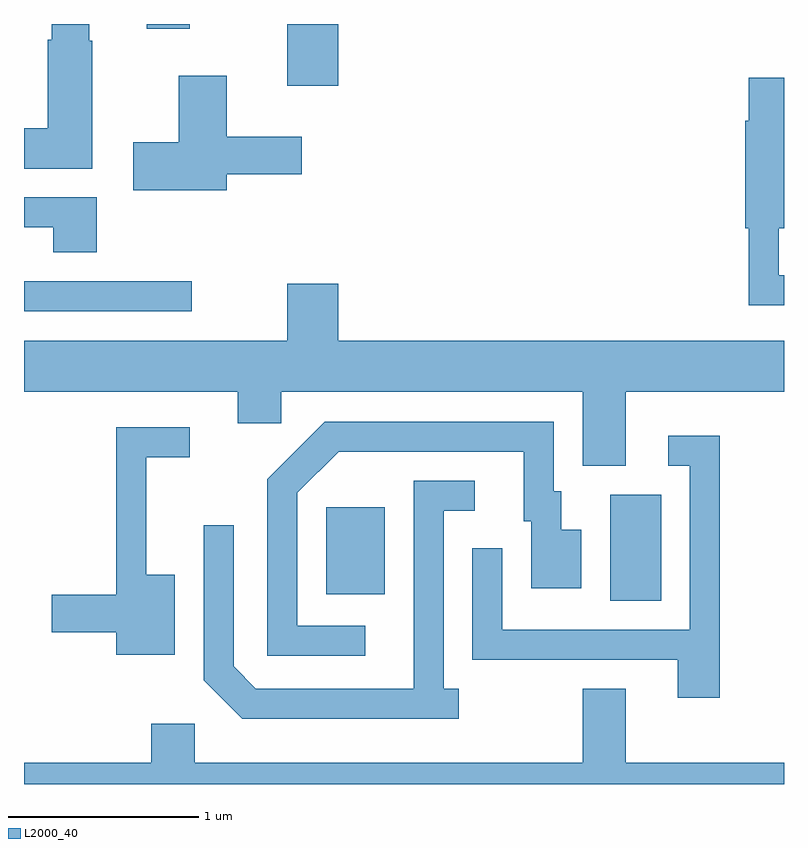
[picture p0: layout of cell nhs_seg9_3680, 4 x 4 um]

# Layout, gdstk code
import gdstk
lib = gdstk.Library(unit=1e-6, precision=1e-09)
def R(c, l, rs):  # rectangles x0, y0, x1, y1
    for r in rs: c.add(gdstk.rectangle(r[:2], r[2:], *l))
def P(c, l, *ps):  # polygons
    for p in ps: c.add(gdstk.Polygon(p, *l))
L2000_40 = (2000, 40)

nhs_seg9_3680 = lib.new_cell('nhs_seg9_3680')
R(nhs_seg9_3680, L2000_40, [(296.696,1977.396,296.964,1977.954), (295.201,1977.431,295.509,1977.889), (293.611,1978.921,294.493,1979.079), (294.996,1980.106,295.264,1980.432), (294.256,1980.406,294.484,1980.432)])
P(nhs_seg9_3680, L2000_40, [(293.969,1980.345),(293.954,1980.345),(293.954,1980.432),(293.756,1980.432),(293.756,1980.349),(293.736,1980.349),(293.736,1979.884),(293.611,1979.884),(293.611,1979.671),(293.969,1979.671)],
  [(294.679,1979.641),(295.074,1979.641),(295.074,1979.839),(294.679,1979.839),(294.679,1980.159),(294.426,1980.159),(294.426,1979.809),(294.186,1979.809),(294.186,1979.556),(294.679,1979.556)],
  [(297.611,1979.109),(297.584,1979.109),(297.584,1979.356),(297.611,1979.356),(297.611,1980.149),(297.426,1980.149),(297.426,1979.924),(297.406,1979.924),(297.406,1979.356),(297.426,1979.356),(297.426,1978.951),(297.611,1978.951)],
  [(293.994,1979.519),(293.611,1979.519),(293.611,1979.361),(293.766,1979.361),(293.766,1979.231),(293.994,1979.231)],
  [(296.779,1978.496),(297.611,1978.496),(297.611,1978.764),(295.264,1978.764),(295.264,1979.064),(294.996,1979.064),(294.996,1978.764),(293.611,1978.764),(293.611,1978.496),(294.736,1978.496),(294.736,1978.331),(294.964,1978.331),(294.964,1978.496),(296.551,1978.496),(296.551,1978.106),(296.779,1978.106)],
  [(295.408,1977.264),(295.049,1977.264),(295.049,1977.964),(295.267,1978.181),(296.241,1978.181),(296.241,1977.816),(296.281,1977.816),(296.281,1977.461),(296.544,1977.461),(296.544,1977.769),(296.439,1977.769),(296.439,1977.974),(296.399,1977.974),(296.399,1978.339),(295.194,1978.339),(294.891,1978.037),(294.891,1977.106),(295.408,1977.106)],
  [(294.404,1977.534),(294.254,1977.534),(294.254,1978.151),(294.483,1978.151),(294.483,1978.309),(294.096,1978.309),(294.096,1977.429),(293.756,1977.429),(293.756,1977.231),(294.096,1977.231),(294.096,1977.111),(294.404,1977.111)],
  [(297.274,1978.264),(297.003,1978.264),(297.003,1978.106),(297.116,1978.106),(297.116,1977.244),(296.129,1977.244),(296.129,1977.673),(295.971,1977.673),(295.971,1977.086),(297.051,1977.086),(297.051,1976.886),(297.274,1976.886)],
  [(295.898,1976.934),(295.819,1976.934),(295.819,1977.871),(295.983,1977.871),(295.983,1978.029),(295.661,1978.029),(295.661,1976.934),(294.832,1976.934),(294.714,1977.052),(294.714,1977.793),(294.556,1977.793),(294.556,1976.979),(294.759,1976.776),(295.898,1976.776)],
  [(297.611,1976.544),(296.779,1976.544),(296.779,1976.934),(296.551,1976.934),(296.551,1976.544),(294.509,1976.544),(294.509,1976.749),(294.281,1976.749),(294.281,1976.544),(293.611,1976.544),(293.611,1976.432),(297.611,1976.432)])

lib.write_gds('nhs_seg9_3680.gds')
